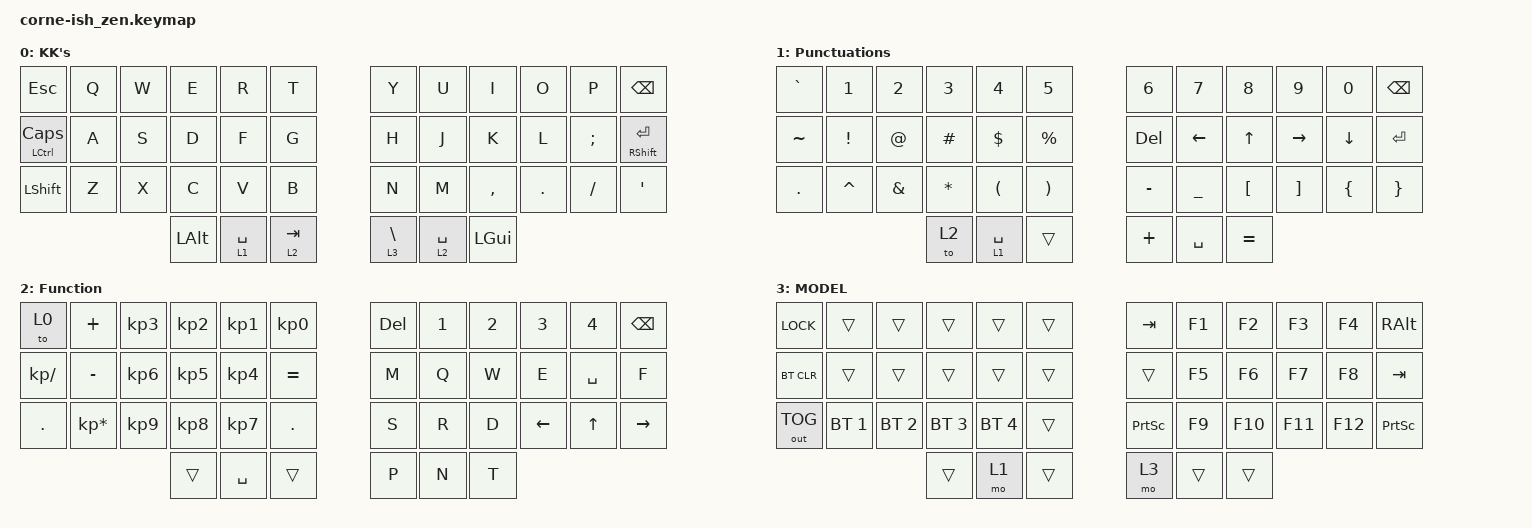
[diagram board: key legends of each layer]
/*
*
* Copyright (c) 2021 Darryl deHaan
* SPDX-License-Identifier: MIT
*
*/

#include <behaviors.dtsi>
#include <dt-bindings/zmk/keys.h>
#include <dt-bindings/zmk/bt.h>
#include <dt-bindings/zmk/rgb.h>
#include <dt-bindings/zmk/ext_power.h>
#include <dt-bindings/zmk/outputs.h>

&sl {
    release-after-ms = <500>;
};

&mt {
    tapping-term-ms = <200>;
};

/ {
        keymap {
                compatible = "zmk,keymap";

                0_layer {
                label = "KK's";                
          
// -----------------------------------------------------------------------------------------
// |  ESC    |  Q  |  W  |  E  |  R  |  T  |      |  Y  |  U  |  I  |  O  |  P  | BKSP |
// |CAP(CTRL)|  A  |  S  |  D  |  F  |  G  |      |  H  |  J  |  K  |  L  |  ;  |ENT(SHFT)|
// |   SHFT  |  Z  |  X  |  C  |  V  |  B  |      |  N  |  M  | ,<  | .>  | /?  | ' "  |
//                 |LALT |SPC(MO1)|TAB(MO2)|      |\|(MO3)|SPC(MO2)| LGUI |
// -----------------------------------------------------------------------------------------

                        bindings = <
   &kp ESC        &kp Q &kp W &kp E &kp R &kp T      &kp Y &kp U  &kp I     &kp O   &kp P    &kp BSPC
   &mt LCTRL CAPS &kp A &kp S &kp D &kp F &kp G      &kp H &kp J  &kp K     &kp L   &kp SEMI &mt RSHFT ENTER
   &kp LSHFT      &kp Z &kp X &kp C &kp V &kp B      &kp N &kp M  &kp COMMA &kp DOT &kp FSLH &kp SQT
                  &kp LALT &lt 1 SPACE &lt 2 TAB     &lt 3 BSLH  &lt 2 SPACE &kp LGUI 
                        >;
                };


                1_layer {
                label = "Punctuations";

// -----------------------------------------------------------------------------------------
// |  `   |  1  |  2  |  3  |  4  |  5  |      |  6  |   7  |  8  |  9  |  0   |  BS  |
// |  ~   |  !  |  @  |  #  |  $  |  %  |      | DEL | LEFT |  UP |RIGHT| DOWN | ENTER|
// |  .   |  ^  |  &  |  *  |  (  |  )  |      |  -  |  _   |  [  |  ]  |  {   |  }   |
//                 |TO(2)|SPC(MO1)|     |      |  +  | SPC  |  =  |
// -----------------------------------------------------------------------------------------
                                   
                        bindings = <
   &kp GRAVE &kp N1    &kp N2   &kp N3   &kp N4   &kp N5         &kp N6    &kp N7    &kp N8   &kp N9    &kp N0   &kp BSPC
   &kp TILDE &kp EXCL  &kp AT   &kp HASH &kp DLLR &kp PRCNT      &kp DEL   &kp LEFT  &kp UP   &kp RIGHT &kp DOWN &kp ENTER
   &kp DOT   &kp CARET &kp AMPS &kp STAR &kp LPAR &kp RPAR       &kp MINUS &kp UNDER &kp LBKT &kp RBKT  &kp LBRC &kp RBRC
                                   &to 2  &lt 1 SPACE &trans      &kp PLUS  &kp SPACE &kp EQUAL
                        >;
                };                
                
                
                2_layer {
                label = "Function";
                
// --------------------------------------------------------------------------------------------
// | to(0)|  +  |  3  |  2  |  1  |  0  |      |  DEL |  1  |  2  |  3   |  4  |  BS |
// |  /   |  -  |  6  |  5  |  4  |  =  |      |  M   |  Q  |  W  |  E   | SPC |  F  |
// |  .   |  *  |  9  |  8  |  7  |  .  |      |  S   |  R  |  D  | LEFT | UP  |RIGHT|
//                    |     | SPC |     |      |  P   |  N  |  T  |
// --------------------------------------------------------------------------------------------

                        bindings = <
   &to 0        &kp PLUS &kp KP_N3  &kp KP_N2  &kp KP_N1  &kp KP_N0      &kp DEL  &kp N1  &kp N2  &kp N3  &kp N4  &kp BSPC
   &kp KP_SLASH &kp MINUS &kp KP_N6 &kp KP_N5  &kp KP_N4  &kp EQUAL      &kp M   &kp Q &kp W &kp E  &kp SPACE  &kp F
   &kp DOT      &kp KP_MULTIPLY &kp KP_N9  &kp KP_N8  &kp KP_N7 &kp DOT  &kp S  &kp R &kp D &kp LEFT &kp UP &kp RIGHT
                                &trans   &kp SPACE  &trans               &kp P  &kp N  &kp T
                        >;
                };

                
                3_layer {
                label = "MODEL";
                
// ------------------------------------------------------------------------------------------
// | lock |     |     |     |     |     |      | TAB |  F1  |  F2  |  F3  |  F4  | ALT |
// |BTCLR |     |     |     |     |     |      |     |  F5  |  F6  |  F7  |  F8  | TAB |
// |USB/BLE| BT1| BT2 | BT3 | BT4 |     |      |PSCRN|  F9  |  F10 |  F11 |  F12 |PSCRN| 
//                    |     |mo(1)|     |      |mo(3)|      |      |
// ------------------------------------------------------------------------------------------

                        bindings = <
   &kp K_LOCK &trans &trans &trans  &trans  &trans                          &kp TAB  &kp F1  &kp F2  &kp F3  &kp F4  &kp RALT
   &bt BT_CLR &trans &trans &trans  &trans  &trans                          &trans   &kp F5  &kp F6  &kp F7  &kp F8  &kp TAB
   &out OUT_TOG &bt BT_SEL 1 &bt BT_SEL 2 &bt BT_SEL 3 &bt BT_SEL 4 &trans  &kp PSCRN  &kp F9  &kp F10 &kp F11 &kp F12 &kp PSCRN
                    &trans &mo 1 &trans                                     &mo 3  &trans &trans
                        >;
                };
                
        };
};
